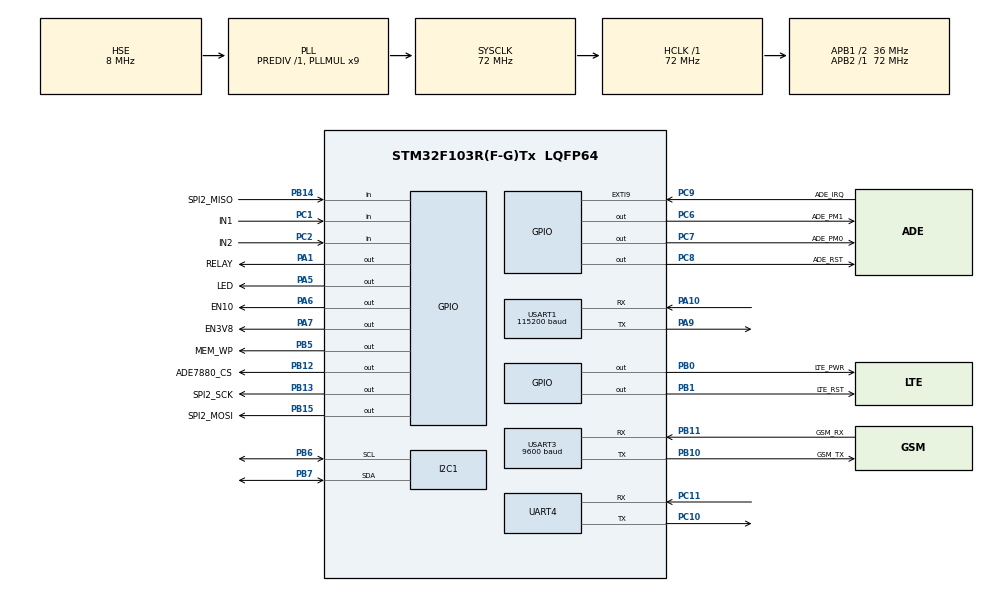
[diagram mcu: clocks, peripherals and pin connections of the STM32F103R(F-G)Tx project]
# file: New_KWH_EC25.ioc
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ADC1.Channel-0\#ChannelRegularConversion=ADC_CHANNEL_TEMPSENSOR
ADC1.NbrOfConversionFlag=1
ADC1.Rank-0\#ChannelRegularConversion=1
ADC1.SamplingTime-0\#ChannelRegularConversion=ADC_SAMPLETIME_1CYCLE_5
ADC1.master=1
IWDG.Prescaler=IWDG_PRESCALER_256
Mcu.Family=STM32F1
Mcu.Name=STM32F103R(F-G)Tx
Mcu.Package=LQFP64
NVIC.PriorityGroup=NVIC_PRIORITYGROUP_4
NVIC.UART4_IRQn=true\:0\:0\:false\:false\:true\:true\:true\:true
NVIC.USART1_IRQn=true\:0\:0\:false\:false\:true\:true\:true\:true
NVIC.USART3_IRQn=true\:0\:0\:false\:false\:true\:true\:true\:true
PA1.GPIO_Label=RELAY
PA1.Signal=GPIO_Output
PA10.Mode=Asynchronous
PA10.Signal=USART1_RX
PA13.Mode=Serial_Wire
PA13.Signal=SYS_JTMS-SWDIO
PA14.Mode=Serial_Wire
PA14.Signal=SYS_JTCK-SWCLK
PA5.GPIO_Label=LED
PA5.Signal=GPIO_Output
PA6.GPIO_Label=EN10
PA6.Signal=GPIO_Output
PA7.GPIO_Label=EN3V8
PA7.Signal=GPIO_Output
PA9.GPIO_Speed=GPIO_SPEED_FREQ_MEDIUM
PA9.Mode=Asynchronous
PA9.Signal=USART1_TX
PB0.GPIO_Label=LTE_PWR
PB0.GPIO_ModeDefaultOutputPP=GPIO_MODE_OUTPUT_OD
PB0.Signal=GPIO_Output
PB1.GPIO_Label=LTE_RST
PB1.GPIO_ModeDefaultOutputPP=GPIO_MODE_OUTPUT_OD
PB1.Signal=GPIO_Output
PB10.GPIO_Label=GSM_TX
PB10.Mode=Asynchronous
PB10.Signal=USART3_TX
PB11.GPIO_Label=GSM_RX
PB11.Mode=Asynchronous
PB11.Signal=USART3_RX
PB12.GPIO_Label=ADE7880_CS
PB12.Signal=GPIO_Output
PB13.GPIO_Label=SPI2_SCK
PB13.Signal=GPIO_Output
PB14.GPIO_Label=SPI2_MISO
PB14.Signal=GPIO_Input
PB15.GPIO_Label=SPI2_MOSI
PB15.Signal=GPIO_Output
PB5.GPIO_Label=MEM_WP
PB5.Signal=GPIO_Output
PB6.GPIO_Pu=GPIO_PULLUP
PB6.Mode=I2C
PB6.Signal=I2C1_SCL
PB7.GPIO_Pu=GPIO_PULLUP
PB7.Mode=I2C
PB7.Signal=I2C1_SDA
PC1.GPIO_Label=IN1
PC1.Signal=GPIO_Input
PC10.Mode=Asynchronous
PC10.Signal=UART4_TX
PC11.Mode=Asynchronous
PC11.Signal=UART4_RX
PC14-OSC32_IN.Mode=LSE-External-Oscillator
PC14-OSC32_IN.Signal=RCC_OSC32_IN
PC15-OSC32_OUT.Mode=LSE-External-Oscillator
PC15-OSC32_OUT.Signal=RCC_OSC32_OUT
PC2.GPIO_Label=IN2
PC2.Signal=GPIO_Input
PC6.GPIO_Label=ADE_PM1
PC6.Signal=GPIO_Output
PC7.GPIO_Label=ADE_PM0
PC7.Signal=GPIO_Output
PC8.GPIO_Label=ADE_RST
PC8.Signal=GPIO_Output
PC9.GPIO_Label=ADE_IRQ
PC9.Signal=GPXTI9
PD0-OSC_IN.Mode=HSE-External-Oscillator
PD0-OSC_IN.Signal=RCC_OSC_IN
PD1-OSC_OUT.Mode=HSE-External-Oscillator
PD1-OSC_OUT.Signal=RCC_OSC_OUT
ProjectManager.HeapSize=0x200
ProjectManager.StackSize=0x400
ProjectManager.TargetToolchain=STM32CubeIDE
RCC.ADCPresc=RCC_ADCPCLK2_DIV6
RCC.AHBFreq_Value=72000000
RCC.APB1CLKDivider=RCC_HCLK_DIV2
RCC.APB1Freq_Value=36000000
RCC.APB1TimFreq_Value=72000000
RCC.APB2Freq_Value=72000000
RCC.APB2TimFreq_Value=72000000
RCC.HCLKFreq_Value=72000000
RCC.PLLMUL=RCC_PLL_MUL9
RCC.PLLSourceVirtual=RCC_PLLSOURCE_HSE
RCC.SYSCLKFreq_VALUE=72000000
RCC.SYSCLKSource=RCC_SYSCLKSOURCE_PLLCLK
RCC.USBFreq_Value=72000000
RTC.Format=RTC_FORMAT_BIN
TIM2.Period=100-1
TIM2.Prescaler=720-1
UART4.VirtualMode=Asynchronous
USART1.BaudRate=115200
USART1.VirtualMode=VM_ASYNC
USART3.BaudRate=9600
USART3.VirtualMode=VM_ASYNC
VP_ADC1_TempSens_Input.Mode=IN-TempSens
VP_IWDG_VS_IWDG.Mode=IWDG_Activate
VP_RTC_VS_RTC_Activate.Mode=RTC_Enabled
VP_RTC_VS_RTC_Calendar.Mode=RTC_Calendar
VP_TIM2_VS_ClockSourceINT.Mode=Internal
board=custom

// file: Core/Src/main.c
/* USER CODE BEGIN Header */
/**
  ******************************************************************************
  * @file           : main.c
  * @brief          : Main program body
  ******************************************************************************
  * @attention
  *
  * Copyright (c) 2026 STMicroelectronics.
  * All rights reserved.
  *
  * This software is licensed under terms that can be found in the LICENSE file
  * in the root directory of this software component.
  * If no LICENSE file comes with this software, it is provided AS-IS.
  *
  ******************************************************************************
  */
/* USER CODE END Header */
#include "main.h"
#include "adc.h"
#include "i2c.h"
#include "iwdg.h"
#include "rtc.h"
#include "tim.h"
#include "usart.h"
#include "gpio.h"

/* USER CODE BEGIN Includes */

#include "mqtt.h"
#include "uart.h"
#include "config.h"
#include "modem_check.h"

#include "powermeter_ade7880.h"   /* driver ADE7880 (bit-bang)          */
#include "KWH.h"                  /* getElectricValue, WH, updatePwmVal */
#include "fram.h"                 /* simpan/baca WH persisten           */
#include "uid_config.h"

#include <stdlib.h>
#include <stdio.h>
#include <string.h>

/* USER CODE END Includes */

/* USER CODE BEGIN PTD */
static uint32_t last_read_tick    = 0;
static uint32_t last_publish_tick = 0;

/* Auto-reconnect state saat mqtt_disconnected true */
static uint32_t reconnect_next_tick   = 0;      /* HAL_GetTick() minimum untuk attempt berikutnya */
static uint32_t reconnect_backoff_ms  = 5000;   /* mulai 5 detik, exp backoff sampai max */
static uint16_t reconnect_fail_count  = 0;
#define RECONNECT_BACKOFF_MIN_MS  5000U
#define RECONNECT_BACKOFF_MAX_MS  60000U
#define RECONNECT_MAX_FAILS       10U           /* setelah ini reset MCU */

static int  retry_count_local = 0;
static int  total_retry       = 0;
static char last_topic[128]   = {0};
static char last_payload[512] = {0};

static pwr_value_t pwr_val;
static pwr_value_t last_pwr_val;
static WH_T        tWH;
static float       WH = 0.0f;
static uint16_t    ADEStuck_count = 0;

static uint8_t relay_state = 0;

uint8_t uid_rx_byte = 0;

static ModemStatus mstat;

#define FW_VERSION "2026.08.27"

void UART_WatchdogRefresh(void)
{
    HAL_IWDG_Refresh(&hiwdg);
}

static void DBG(const char *s);

void UART_DebugPoll(void)
{
    UID_Process();
}

static void handle_mqtt_reconnect(void)
{
    if (!mqtt_disconnected) return;

    uint32_t now = HAL_GetTick();
    if (now < reconnect_next_tick) return;   /* masih dalam backoff */

    DBG("[MQTT] Terputus terdeteksi, coba reconnect...\r\n");
    UART_WatchdogRefresh();

    if (MQTT_Reconnect() == MQTT_OK)
    {
        /* Subscribe ulang topic downlink supaya perintah H:R/H:S masih bisa
         * masuk. MQTT_Reconnect di mqtt.c tidak otomatis re-subscribe. */
        if (MQTT_Subscribe(mqtt_topic_sub, 1) == MQTT_OK)
        {
            DBG("[MQTT] Reconnect + subscribe OK\r\n");
            mqtt_disconnected    = false;
            reconnect_backoff_ms = RECONNECT_BACKOFF_MIN_MS;
            reconnect_fail_count = 0;
            reconnect_next_tick  = 0;
            return;
        }
        DBG("[MQTT] Reconnect OK tapi Subscribe gagal, hitung sebagai gagal\r\n");
    }
    else
    {
        DBG("[MQTT] Reconnect GAGAL\r\n");
    }

    /* Gagal — naikkan backoff & counter */
    reconnect_fail_count++;
    reconnect_backoff_ms *= 2;
    if (reconnect_backoff_ms > RECONNECT_BACKOFF_MAX_MS)
        reconnect_backoff_ms = RECONNECT_BACKOFF_MAX_MS;
    reconnect_next_tick = HAL_GetTick() + reconnect_backoff_ms;

    {
        char msg[96];
        int  n = snprintf(msg, sizeof(msg),
                          "[MQTT] Backoff %lu ms, gagal ke-%u/%u\r\n",
                          (unsigned long)reconnect_backoff_ms,
                          (unsigned)reconnect_fail_count,
                          (unsigned)RECONNECT_MAX_FAILS);
        HAL_UART_Transmit(&huart1, (uint8_t*)msg, (uint16_t)n, 500);
    }

    /* Escalate: kalau tetap gagal setelah 10x, reset MCU untuk fresh boot
     * (termasuk power-cycle modem via sequence boot). */
    if (reconnect_fail_count >= RECONNECT_MAX_FAILS)
    {
        DBG("[MQTT] Reconnect gagal 10x, reset MCU\r\n");
        HAL_Delay(500);
        NVIC_SystemReset();
        while (1) {}
    }
}

static void Relay_Set(uint8_t on)
{
    if (on)
        HAL_GPIO_WritePin(RELAY_GPIO_Port, RELAY_Pin, GPIO_PIN_RESET);
    else
        HAL_GPIO_WritePin(RELAY_GPIO_Port, RELAY_Pin, GPIO_PIN_SET);
    relay_state = on ? 1 : 0;
}

static bool has_hcmd(const char *data_obj, char c)
{
    const char *p = strstr(data_obj, "\"H\"");
    if (p == NULL) return false;
    p += 3;
    while (*p == ' ') p++;
    if (*p != ':') return false;
    p++;
    while (*p == ' ') p++;
    if (*p != '\"') return false;
    p++;
    return (*p == c);
}

static void Build_KWH_Payload(char *out, size_t out_size, pwr_value_t *pv, float wh)
{
    snprintf(out, out_size,
        "{\"UID\":\"%s\","
        "\"CTIME\":\"%04d%02d%02dT%02d%02d%02d\","
        "\"VR\":%.2f,\"VS\":%.2f,\"VT\":%.2f,"
        "\"IR\":%.2f,\"IS\":%.2f,\"IT\":%.2f,"
        "\"PWR\":%.2f,\"PWS\":%.2f,\"PWT\":%.2f,"
        "\"PFR\":%.2f,\"PFS\":%.2f,\"PFT\":%.2f,"
        "\"FREQ\":%.2f,\"WH\":%.2f}",
        device_uid,
        year, month, day, hour, minute, second,
        (double)pv->VRms_R, (double)pv->VRms_S, (double)pv->VRms_T,
        (double)pv->IRms_R, (double)pv->IRms_S, (double)pv->IRms_T,
        (double)pv->Pow_R,  (double)pv->Pow_S,  (double)pv->Pow_T,
        (double)pv->Pf_R,   (double)pv->Pf_S,   (double)pv->Pf_T,
        (double)pv->Freq_T, (double)wh);
}

static const char *Nama_Hari(int y, int m, int d)
{
    static const char *hari[] = {
        "Minggu", "Senin", "Selasa", "Rabu", "Kamis", "Jumat", "Sabtu"
    };
    static const int t[] = {0,3,2,5,0,3,5,1,4,6,2,4};
    if (m < 3) y -= 1;
    if (m < 1 || m > 12) return "-";
    int idx = (y + y/4 - y/100 + y/400 + t[m-1] + d) % 7;
    return hari[idx];
}

static MQTT_StatusTypeDef Publish_Full_Payload(pwr_value_t *pv, float wh)
{

    float PV_R = pv->Pow_R, PV_S = pv->Pow_S, PV_T = pv->Pow_T;   /* aktif (W)  */
    float VA_R = pv->VA_R,  VA_S = pv->VA_S,  VA_T = pv->VA_T;    /* semu (VA)  */

    /* Total daya aktif */
    float W_tot = PV_R + PV_S + PV_T;

    /* Sinyal dBm dari CSQ (99 = unknown → 0) */
    int sig_dbm = (mstat.csq == 99 || mstat.csq == 0) ? 0 : (-113 + 2 * mstat.csq);

    /* 1) Susun DATA object dulu (untuk hitung CRC-nya) */
    static char data_obj[768];
    snprintf(data_obj, sizeof(data_obj),
        "{\"H\":\"K\","
        "\"La\":%.6f,\"Lo\":%.6f,"
        "\"VR\":%.2f,\"VS\":%.2f,\"VT\":%.2f,"
        "\"IR\":%.3f,\"IS\":%.3f,\"IT\":%.3f,"
        "\"PFR\":%.2f,\"PFS\":%.2f,\"PFT\":%.2f,"
        "\"PVR\":%.2f,\"PVS\":%.2f,\"PVT\":%.2f,"
        "\"VAR\":%.2f,\"VAS\":%.2f,\"VAT\":%.2f,"
        "\"WH\":%.3f,\"W\":%.2f,"
        "\"Frek\":%.3f,\"Temp\":%.2f,\"Sig\":%d,"
        "\"DO1\":%u,\"DO2\":0,\"DI2\":0,\"SEC\":%d}",
        (double)LATITUDE, (double)LONGITUDE,
        (double)pv->VRms_R, (double)pv->VRms_S, (double)pv->VRms_T,
        (double)pv->IRms_R, (double)pv->IRms_S, (double)pv->IRms_T,
        (double)pv->Pf_R,   (double)pv->Pf_S,   (double)pv->Pf_T,
        (double)PV_R,       (double)PV_S,       (double)PV_T,
        (double)VA_R,       (double)VA_S,       (double)VA_T,
        (double)wh,         (double)W_tot,
        (double)pv->Freq_R, 0.0, sig_dbm,
        (unsigned)relay_state, 0);

    /* 2) Hitung CRC dari DATA object, format "0xXXXX" */
    uint16_t crc = Modbus_CRC16((const unsigned char *)data_obj, strlen(data_obj));
    char crc_str[8];
    snprintf(crc_str, sizeof(crc_str), "0x%04X", crc);

    /* 3) Rangkai payload penuh: CRC + DATA + LU + Ver + COM + IMSI + IMEI */
    static char full[1024];
    snprintf(full, sizeof(full),
        "{\"CRC\":\"%s\",\"DATA\":%s,"
        "\"LU\":{\"dy\":\"%s\",\"dt\":\"%04d:%02d:%02d\",\"tm\":\"%02d:%02d:%02d\",\"sc\":\"ntp\"},"
        "\"Ver\":\"%s\",\"COM\":\"GSM\",\"IMSI\":\"%s\",\"IMEI\":\"%s\"}",
        crc_str, data_obj,
        Nama_Hari(year, month, day),
        year, month, day, hour, minute, second,
        FW_VERSION, mstat.imsi, mstat.imei);

    /* 4) Publish langsung (BUKAN MQTT_PublishWithCRC, karena format beda) */
    MQTT_StatusTypeDef st = MQTT_Publish(mqtt_topic_pub, full, 1, 0);
    if (st == MQTT_OK)
        HAL_UART_Transmit(&huart1, (uint8_t*)"[PUBLISH] payload terkirim\r\n", 28, 500);
    else
        HAL_UART_Transmit(&huart1, (uint8_t*)"[PUBLISH] payload GAGAL\r\n", 25, 500);
    return st;
}

/* ──────────────────────────────────────────────────────────────────────────
 *  Cetak nilai sensor ke UART debug (huart1) — untuk verifikasi pembacaan.
 * ────────────────────────────────────────────────────────────────────────── */
static void Debug_Print_Sensor(pwr_value_t *pv, float wh)
{
    char buff[140];
    int n;
    /* PW = daya AKTIF (Watt, dari ADE) | VA = daya SEMU (V x I) */
    n = sprintf(buff, "R: V=%3.2f I=%2.3f PF=%1.2f PW=%2.2f VA=%2.2f\r\n",
                pv->VRms_R, pv->IRms_R, pv->Pf_R, pv->Pow_R, pv->VA_R);
    HAL_UART_Transmit(&huart1, (uint8_t*)buff, n, 1000);
    n = sprintf(buff, "S: V=%3.2f I=%2.3f PF=%1.2f PW=%2.2f VA=%2.2f\r\n",
                pv->VRms_S, pv->IRms_S, pv->Pf_S, pv->Pow_S, pv->VA_S);
    HAL_UART_Transmit(&huart1, (uint8_t*)buff, n, 1000);
    n = sprintf(buff, "T: V=%3.2f I=%2.3f PF=%1.2f PW=%2.2f VA=%2.2f\r\n",
                pv->VRms_T, pv->IRms_T, pv->Pf_T, pv->Pow_T, pv->VA_T);
    HAL_UART_Transmit(&huart1, (uint8_t*)buff, n, 1000);
    n = sprintf(buff, "Frek=%2.2f  WH=%3.5f\r\n", pv->Freq_R, wh);
    HAL_UART_Transmit(&huart1, (uint8_t*)buff, n, 1000);
}

static void DBG(const char *s)
{
    HAL_UART_Transmit(&huart1, (uint8_t*)s, strlen(s), 500);
}

void Debug_PrintStatus(void)
{
    char b[96];
    int sig_dbm = (mstat.csq == 99 || mstat.csq == 0) ? 0 : (-113 + 2 * mstat.csq);

    DBG("\r\n===== STATUS DEVICE =====\r\n");

    sprintf(b, "UID    	: %s\r\n", device_uid);              DBG(b);
    sprintf(b, "MQTT   	: %s\r\n",
            mqtt_disconnected ? "TERPUTUS" : "TERHUBUNG");  DBG(b);
    sprintf(b, "Sinyal 	: CSQ=%d (%d dBm)\r\n", mstat.csq, sig_dbm); DBG(b);
    sprintf(b, "IMEI   	: %s\r\n", mstat.imei);              DBG(b);
    sprintf(b, "IMSI   	: %s\r\n", mstat.imsi);              DBG(b);
    sprintf(b, "WH     	: %.3f\r\n", (double)WH);            DBG(b);
    sprintf(b, "Topic Pub	: %s\r\n", mqtt_topic_pub);          DBG(b);
    sprintf(b, "Topic Sub 	: %s\r\n", mqtt_topic_sub);          DBG(b);
    sprintf(b, "Client_Id  	: %s\r\n", client_id);          DBG(b);

    DBG("=========================\r\n");
}

void Debug_ResetWH_Full(void)
{
    resetWH();                                 /* Wh_R = Wh_S = Wh_T = 0 di RAM */
    WH = 0.0f;                                 /* variabel total di main.c juga */
    WattH.m_float = 0.0f;
    WritemByte_FRAM(addr_energy, WattH.m_bytes);   /* langsung timpa FRAM */
}

/* Wrapper Relay_Set — karena Relay_Set static. */
void Debug_SetRelay(uint8_t on)
{
    Relay_Set(on);
}

/* ══════════════════════════════════════════════════════════════════════════
 *  Handler perintah DEFERRED — HANYA dipanggil dari superloop main(),
 *  BUKAN dari wait loop (UART_DebugPoll). Ini "opsi aman" agar perintah
 *  MQTT/publish tidak merusak rxBuffer transaksi yang sedang menunggu URC.
 * ══════════════════════════════════════════════════════════════════════════ */
void Debug_HandleDeferred(void)
{
    DbgPendingAction act = dbg_pending;
    if (act == DBG_ACT_NONE) return;
    dbg_pending = DBG_ACT_NONE;   /* claim early biar tidak dobel eksekusi */

    switch (act)
    {
    case DBG_ACT_PUB_FULL:
        DBG("[DBG] eksekusi KWH,PUB\r\n");
        Publish_Full_Payload(&pwr_val, WH);
        break;

    case DBG_ACT_MQTT_CLOSE:
        DBG("[DBG] eksekusi MQTT,CLOSE\r\n");
        if (MQTT_Close() == MQTT_OK) DBG("[DBG] MQTT_Close OK\r\n");
        else                          DBG("[DBG] MQTT_Close GAGAL\r\n");
        break;

    case DBG_ACT_MQTT_DSC:
        DBG("[DBG] eksekusi MQTT,DSC\r\n");
        if (MQTT_Disconnect() == MQTT_OK) DBG("[DBG] MQTT_Disconnect OK\r\n");
        else                               DBG("[DBG] MQTT_Disconnect GAGAL\r\n");
        break;

    case DBG_ACT_MQTT_OPEN:
    {
        DBG("[DBG] eksekusi MQTT,OPEN (max 3x retry)\r\n");
        int i;
        MQTT_StatusTypeDef st = MQTT_ERROR;
        for (i = 0; i < 3; i++)
        {
            st = MQTT_Open();
            if (st == MQTT_OK) break;
            HAL_Delay(1000);
            UART_WatchdogRefresh();
        }
        if (st == MQTT_OK) DBG("[DBG] MQTT_Open OK\r\n");
        else                DBG("[DBG] MQTT_Open GAGAL setelah 3x retry\r\n");
        break;
    }

    case DBG_ACT_MQTT_CONN:
    {
        DBG("[DBG] eksekusi MQTT,CONN (max 3x retry)\r\n");
        int i;
        MQTT_StatusTypeDef st = MQTT_ERROR;
        for (i = 0; i < 3; i++)
        {
            st = MQTT_Connect();
            if (st == MQTT_OK) break;
            HAL_Delay(500);
            UART_WatchdogRefresh();
        }
        if (st == MQTT_OK) DBG("[DBG] MQTT_Connect OK\r\n");
        else                DBG("[DBG] MQTT_Connect GAGAL setelah 3x retry\r\n");
        break;
    }

    case DBG_ACT_MQTT_SUBS:
    {
        DBG("[DBG] eksekusi MQTT,SUBS (max 3x retry)\r\n");
        int i;
        MQTT_StatusTypeDef st = MQTT_ERROR;
        for (i = 0; i < 3; i++)
        {
            st = MQTT_Subscribe(mqtt_topic_sub, 1);
            if (st == MQTT_OK) break;
            HAL_Delay(500);
            UART_WatchdogRefresh();
        }
        if (st == MQTT_OK) DBG("[DBG] MQTT_Subscribe OK\r\n");
        else                DBG("[DBG] MQTT_Subscribe GAGAL setelah 3x retry\r\n");
        break;
    }

    default:
        break;
    }
}

/* USER CODE END PTD */

void SystemClock_Config(void);

int main(void)
{

  /* USER CODE BEGIN 1 */
	  uint32_t millis(void) {
		return HAL_GetTick();
	  }
//  sprintf(mqtt_topic_pub, "SIKLON/SMARTPJU/JKT/%s/UPLINK/CCO", uid);
//  sprintf(mqtt_topic_sub, "SIKLON/SMARTPJU/JKT/%s/DOWNLINK", uid);

  /* USER CODE END 1 */

  /* MCU Configuration--------------------------------------------------------*/

  /* Reset of all peripherals, Initializes the Flash interface and the Systick. */
  HAL_Init();

  /* Configure the system clock */
  SystemClock_Config();

  /* Initialize all configured peripherals */
  MX_GPIO_Init();
  MX_UART4_Init();
  MX_USART1_UART_Init();
  MX_USART3_UART_Init();
  MX_RTC_Init();
  MX_ADC1_Init();
  MX_TIM2_Init();
  MX_I2C1_Init();
  MX_IWDG_Init();
  /* USER CODE BEGIN 2 */

  UID_Load();
  sprintf(client_id, "%s", device_uid);
  sprintf(mqtt_topic_pub, "SIKLON/SMARTPJU/JKT/%s/UPLINK/CCO", device_uid);
  sprintf(mqtt_topic_sub, "SIKLON/SMARTPJU/JKT/%s/DOWNLINK",   device_uid);

  /* ── Aktifkan RX debug (huart1) untuk perintah SETUID ────────────────────── */
  HAL_UART_Receive_IT(&huart1, &uid_rx_byte, 1);
  /* ── UART modem (huart3) ────────────────────────────────────────────────── */
   UART_Init_Buffer(&huart3);

   /* ── Power-on modem EC25 (sekuens dari project baru yang sudah jalan) ────── */
   HAL_GPIO_WritePin(LTE_RST_GPIO_Port, LTE_RST_Pin, GPIO_PIN_SET);
   HAL_GPIO_WritePin(EN3V8_GPIO_Port,   EN3V8_Pin,   GPIO_PIN_SET);
   HAL_GPIO_WritePin(LTE_PWR_GPIO_Port, LTE_PWR_Pin, GPIO_PIN_SET);
   for (int i = 0; i < 15; i++)
   {
       HAL_Delay(1000);
       UART_WatchdogRefresh();
   }

   Modem_AutoBaudrate(115200);

   /* ── Cek status modem (ala QNavigator): sync AT + SIM + sinyal + registrasi ─ */
   Modem_SyncAndCheck(&mstat);

   for (int i = 0; i < 3; i++)
   {
       UART_SendATCommand("ATE0");
       if (UART_WaitForOK(2000)) break;
       HAL_Delay(500);
   }

   /* ── Inisialisasi ADE7880 (bit-bang) ────────────────────────────────────── */
   ADE7880_Config();

   /* ── Relay awal OFF ─────────────────────────────────────────────────────── */
   Relay_Set(1);

//   char dbg[64];
//   HAL_StatusTypeDef st = HAL_I2C_IsDeviceReady(&hi2c1, 0xA0, 3, 100);
//   if (st == HAL_OK) {
//       HAL_UART_Transmit(&huart1, (uint8_t*)"[FRAM] device ready\r\n", 21, 500);
//       WH = FRAM_Read_WH();
//       if (WH < 0 || WH > 1.0e9f) WH = 0;
//   } else {
//       int n = sprintf(dbg, "[FRAM] TIDAK terdeteksi, status=%d\r\n", st);
//       HAL_UART_Transmit(&huart1, (uint8_t*)dbg, n, 500);
//       WH = 0;
//   }
//   tWH.WH_R = WH / 3; tWH.WH_S = WH / 3; tWH.WH_T = WH / 3;
//   setWH(&tWH);
//   /* ── Ambil WH terakhir dari FRAM (persisten) ────────────────────────────── */
   WH = FRAM_Read_WH();
   if (WH < 0 || WH > 1.0e9f) WH = 0;   /* guard nilai sampah pertama kali */
   tWH.WH_R = WH / 3;
   tWH.WH_S = WH / 3;
   tWH.WH_T = WH / 3;
   setWH(&tWH);

   {
        char wbuf[64];
        int wn = sprintf(wbuf, "[WH] restore dari FRAM: %.3f\r\n", (double)WH);
        HAL_UART_Transmit(&huart1, (uint8_t*)wbuf, wn, 500);
    }

   /* ── Bangun kredensial MQTT dari config.c ───────────────────────────────── */
   MQTT_Config mqtt_cfg = Config_GetMQTT();
   MQTT_Init(&mqtt_cfg);

   /* ── Sekuens koneksi MQTT (dari project baru yang sudah terbukti jalan) ──── */
   MQTT_START:
   retry_count_local = 0;
   total_retry        = 0;

   UART_SendATCommand("AT+QMTCFG=\"session\",0,1");
   UART_WaitForOK(3000);
   UART_SendATCommand("AT+QMTCFG=\"keepalive\",0,3600");
   UART_WaitForOK(3000);

   (void)MQTT_Disconnect();
   (void)MQTT_Close();
   HAL_Delay(500);
   UART_WatchdogRefresh();

   DBG("[MQTT] Membuka koneksi ke broker...\r\n");
   while (MQTT_Open() != MQTT_OK)
   {
       /* MQTT_Open sudah otomatis panggil MQTT_Close() internal kalau kode
        * hasil bukan 0. Jadi di retry loop kita cukup panggil CheckNetwork
        * (kalau perlu reactivate PDP) + delay singkat + coba lagi.
        * TIDAK PERLU lagi kirim raw AT+QMTCLOSE + HAL_Delay di sini. */
       DBG("[MQTT] QMTOPEN gagal, retry...\r\n");
       MQTT_CheckNetwork();
       HAL_Delay(1000);           /* beri broker/modem waktu release session */
       UART_WatchdogRefresh();
       retry_count_local++;
       total_retry++;

       if (total_retry >= 10)
       {
           DBG("[MQTT] Gagal terus, reset device.\r\n");
           HAL_GPIO_WritePin(EN3V8_GPIO_Port, EN3V8_Pin, GPIO_PIN_RESET);
           HAL_Delay(3000);
           NVIC_SystemReset();
           while (1) {}
       }
       if (retry_count_local >= 5) { retry_count_local = 0; goto MQTT_START; }
   }
   DBG("[MQTT] Broker terbuka (QMTOPEN OK)\r\n");

   DBG("[MQTT] Menghubungkan (QMTCONN)...\r\n");
   while (MQTT_Connect() != MQTT_OK)
   {
       DBG("[MQTT] QMTCONN gagal, retry...\r\n");
       (void)MQTT_Disconnect();   /* proper: tunggu URC +QMTDISC:0,0 */
       retry_count_local++;
       HAL_Delay(500);
       UART_WatchdogRefresh();
       if (retry_count_local >= 3) { retry_count_local = 0; goto MQTT_START; }
       total_retry++;
       if (total_retry > 10) { NVIC_SystemReset(); while (1) {} }
   }
   DBG("[MQTT] Terhubung ke broker (QMTCONN OK)\r\n");

   retry_count_local = 0;
   while (MQTT_Subscribe(mqtt_topic_sub, 1) != MQTT_OK)
   {
       DBG("[MQTT] Subscribe gagal, retry...\r\n");
       HAL_Delay(500);
       UART_WatchdogRefresh();
       retry_count_local++;
       if (retry_count_local >= 5) goto MQTT_START;
   }
   DBG("[MQTT] Subscribe topic downlink OK\r\n");

   char reg_paylaod [128];
   snprintf(reg_paylaod, sizeof(reg_paylaod),"{\"H\":\"K\",\"CITY\":\"JKT\",\"CCO\":\"%s\",\"STATUS\":\"REG\"}",device_uid);

   if (MQTT_PublishWithCRC(mqtt_regis_pub,reg_paylaod, 1, 0) == MQTT_OK)
       DBG("[MQTT] Registrasi terkirim\r\n");
   else
       DBG("[MQTT] Registrasi GAGAL\r\n");
   HAL_Delay(50);

   /* ── Ambil waktu dari jaringan (via AT+QLTS=2) → isi year/month/day dst ──── */
   mqtt_read_time();

   last_read_tick    = HAL_GetTick();
   last_publish_tick = HAL_GetTick();
  /* USER CODE END 2 */

  /* Infinite loop */
  while (1)
  {

    /* USER CODE BEGIN 3 */
	  UART_WatchdogRefresh();
	    /* ── (0) Cek perintah SETUID dari debug huart1 ──────────────────────── */
	  UID_Process();
	    /* ── (0b) Auto-reconnect MQTT kalau terdeteksi terputus ─────────────── */
	  handle_mqtt_reconnect();
	    /* ── (1) Baca ADE7880 tiap read_interval ────────────────────────────── */
	  if ((HAL_GetTick() - last_read_tick) >= read_interval)
	      {
	          HAL_GPIO_TogglePin(LED_GPIO_Port, LED_Pin);

	          /* Selang waktu nyata sejak baca terakhir (untuk akumulasi energi) */
	          uint32_t now_tick = HAL_GetTick();
	          uint32_t elapsed  = now_tick - last_read_tick;

	          /* 1a. Baca sensor → mengisi V/I/PF/Freq/Pow dan menghitung VA */
	          getElectricValue(&pwr_val);

	          /* 1b. Akumulasi energi memakai VA terbaru + selang waktu nyata */
	          updateWh(elapsed);

	          /* 1c. Ambil akumulator terkini & sinkronkan ke struct (untuk payload) */
	          getWH(&tWH);
	          pwr_val.WH_R = tWH.WH_R;
	          pwr_val.WH_S = tWH.WH_S;
	          pwr_val.WH_T = tWH.WH_T;
	          WH = tWH.WH_R + tWH.WH_S + tWH.WH_T;

	          /* Deteksi ADE stuck: kalau VRms tidak berubah 10x → re-init */
	          if (pwr_val.VRms_R == last_pwr_val.VRms_R &&
	              pwr_val.VRms_S == last_pwr_val.VRms_S &&
	              pwr_val.VRms_T == last_pwr_val.VRms_T)
	              ADEStuck_count++;
	          else
	              ADEStuck_count = 0;

	          if (ADEStuck_count > 10)
	          {
	              ADE7880_Config();
	              ADEStuck_count = 0;
	          }

	          /* Simpan WH ke FRAM (persisten) */
	          WattH.m_float = WH;
	          WritemByte_FRAM(addr_energy, WattH.m_bytes);

	          /* Debug print ke huart1 */
	          Debug_Print_Sensor(&pwr_val, WH);

	          last_pwr_val.VRms_R = pwr_val.VRms_R;
	          last_pwr_val.VRms_S = pwr_val.VRms_S;
	          last_pwr_val.VRms_T = pwr_val.VRms_T;

	          HAL_GPIO_TogglePin(LED_GPIO_Port, LED_Pin);
	          last_read_tick = now_tick;
	      }

	      /* ── (2) Publish data ke server tiap send_interval ──────────────────── */
//	      if ((HAL_GetTick() - last_publish_tick) >= send_interval)
//	      {
//	          /* refresh waktu sebelum kirim */
//	          mqtt_read_time();
//
//	          /* susun payload JSON (tanpa enkripsi) & publish dengan CRC */
//	          char data_obj[512];
//	          Build_KWH_Payload(data_obj, sizeof(data_obj), &pwr_val, WH);
//
//	          if (MQTT_PublishWithCRC(mqtt_topic_pub, data_obj, 1, 0) != MQTT_OK)
//	          {
//	              resend_count++;
//	              /* kalau modem terputus, reconnect lalu subscribe ulang */
//	              if (mqtt_disconnected || resend_count >= 3)
//	              {
//	                  resend_count = 0;
//	                  if (MQTT_Reconnect() == MQTT_OK)
//	                      MQTT_Subscribe(mqtt_topic_sub, 1);
//	              }
//	          }
//	          else
//	          {
//	              resend_count = 0;
//	          }
//
//	          last_publish_tick = HAL_GetTick();
//	      }

	      /* ── (3) Handle downlink: request data (H:R) & set relay (H:S/DO1) ────── */
	      if (mqtt_data_ready)
	      {
	          if (MQTT_ProcessIncoming(last_topic,   sizeof(last_topic),
	                                   last_payload, sizeof(last_payload)))
	          {
	              /* Tampilkan downlink yang diterima */
	              DBG("[DOWNLINK] diterima: ");
	              DBG(last_payload);
	              DBG("\r\n");

	              char data_obj_in[512];
	              if (MQTT_ExtractDataObject(last_payload, data_obj_in, sizeof(data_obj_in)))
	              {
	                  if (has_hcmd(data_obj_in, 'R'))
	                  {
	                      DBG("[DOWNLINK] H:R -> kirim data sekarang\r\n");
	                      Publish_Full_Payload(&pwr_val, WH);
	                  }
	                  else if (has_hcmd(data_obj_in, 'S'))
	                  {
	                      char *pdo = strstr(data_obj_in, "\"DO1\"");
	                      if (pdo != NULL)
	                      {
	                          pdo = strchr(pdo, ':');
	                          if (pdo != NULL)
	                          {
	                              pdo++;
	                              while (*pdo == ' ') pdo++;
	                              int do1 = atoi(pdo);
	                              Relay_Set(do1 ? 1 : 0);

	                              char m[48];
	                              int mn = sprintf(m, "[DOWNLINK] H:S -> relay %s\r\n",
	                                               relay_state ? "ON" : "OFF");
	                              HAL_UART_Transmit(&huart1, (uint8_t*)m, mn, 500);

	                              char ack[64];
	                              snprintf(ack, sizeof(ack),
	                                       "{\"UID\":\"%s\",\"DO1\":%u}", device_uid, (unsigned)relay_state);
	                              MQTT_PublishWithCRC(mqtt_topic_pub, ack, 1, 0);
	                          }
	                      }
	                  }
	                  else
	                  {
	                      DBG("[DOWNLINK] perintah tidak dikenali\r\n");
	                  }
	              }

	              mqtt_data_ready = false;
	          }
	      }
}
  /* USER CODE END 3 */
}

void SystemClock_Config(void)
{
  RCC_OscInitTypeDef RCC_OscInitStruct = {0};
  RCC_ClkInitTypeDef RCC_ClkInitStruct = {0};
  RCC_PeriphCLKInitTypeDef PeriphClkInit = {0};

  /** Initializes the RCC Oscillators according to the specified parameters
  * in the RCC_OscInitTypeDef structure.
  */
  RCC_OscInitStruct.OscillatorType = RCC_OSCILLATORTYPE_LSI|RCC_OSCILLATORTYPE_HSE;
  RCC_OscInitStruct.HSEState = RCC_HSE_ON;
  RCC_OscInitStruct.HSEPredivValue = RCC_HSE_PREDIV_DIV1;
  RCC_OscInitStruct.HSIState = RCC_HSI_ON;
  RCC_OscInitStruct.LSIState = RCC_LSI_ON;
  RCC_OscInitStruct.PLL.PLLState = RCC_PLL_ON;
  RCC_OscInitStruct.PLL.PLLSource = RCC_PLLSOURCE_HSE;
  RCC_OscInitStruct.PLL.PLLMUL = RCC_PLL_MUL9;
  if (HAL_RCC_OscConfig(&RCC_OscInitStruct) != HAL_OK)
  {
    Error_Handler();
  }

  /** Initializes the CPU, AHB and APB buses clocks
  */
  RCC_ClkInitStruct.ClockType = RCC_CLOCKTYPE_HCLK|RCC_CLOCKTYPE_SYSCLK
                              |RCC_CLOCKTYPE_PCLK1|RCC_CLOCKTYPE_PCLK2;
  RCC_ClkInitStruct.SYSCLKSource = RCC_SYSCLKSOURCE_PLLCLK;
  RCC_ClkInitStruct.AHBCLKDivider = RCC_SYSCLK_DIV1;
  RCC_ClkInitStruct.APB1CLKDivider = RCC_HCLK_DIV2;
  RCC_ClkInitStruct.APB2CLKDivider = RCC_HCLK_DIV1;

  if (HAL_RCC_ClockConfig(&RCC_ClkInitStruct, FLASH_LATENCY_2) != HAL_OK)
  {
    Error_Handler();
  }
  PeriphClkInit.PeriphClockSelection = RCC_PERIPHCLK_RTC|RCC_PERIPHCLK_ADC;
  PeriphClkInit.RTCClockSelection = RCC_RTCCLKSOURCE_LSI;
  PeriphClkInit.AdcClockSelection = RCC_ADCPCLK2_DIV6;
  if (HAL_RCCEx_PeriphCLKConfig(&PeriphClkInit) != HAL_OK)
  {
    Error_Handler();
  }
}

void Error_Handler(void)
{
  __disable_irq();
  while (1)
  {
  }
}
